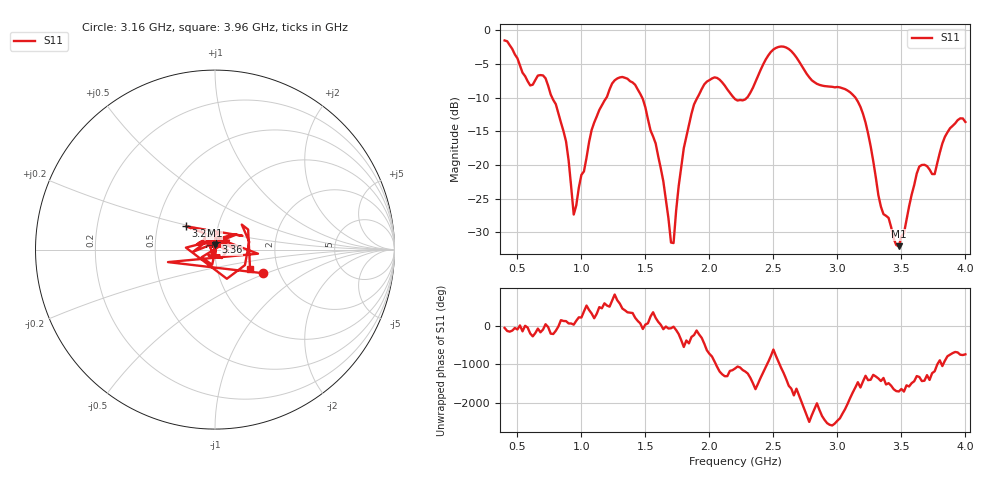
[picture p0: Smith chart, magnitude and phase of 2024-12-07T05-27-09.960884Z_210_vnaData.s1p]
!Created with skrf (http://scikit-rf.org).
# Hz S RI R 50.0
!freq ReS11 ImS11
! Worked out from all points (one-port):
!   181 points, 400 MHz to 4 GHz, reference 50 ohm
!   lowest |S11| = -32.0 dB at 3.48 GHz (marker M1), VSWR 1.05, Z = 49.9 + j2.49 ohm
!   |S11| at or under -10 dB: 772.1 MHz to 1.195 GHz (422.8 MHz wide, 43 % of centre); 1.475 GHz to 1.906 GHz (430.5 MHz wide, 25.5 % of centre); 3.142 GHz to end of sweep (the widest 3 of 4)
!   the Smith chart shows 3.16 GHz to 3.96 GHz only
!   S11 on the Smith chart (normalised r, x): 3.16 GHz: 1.64, -0.47; 3.22 GHz: 0.70, +0.19; 3.36 GHz: 1.00, +0.09; 3.96 GHz: 1.44, -0.32
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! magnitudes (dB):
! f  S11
! 400 MHz  -1.5
! 600 MHz  -8.2
! 720 MHz  -7.1
! 860 MHz  -15.0
! 940 MHz  -27.3
! 1.08 GHz  -14.8
! 1.3 GHz  -7.0
! 1.48 GHz  -10.2
! 1.64 GHz  -22.4
! 1.7 GHz  -31.5
! 1.72 GHz  -31.6
! 1.76 GHz  -23.1
! 1.86 GHz  -12.4
! 1.96 GHz  -8.0
! 2.2 GHz  -10.2
! 2.5 GHz  -2.8
! 2.66 GHz  -3.5
! 3.1 GHz  -9.2
! 3.16 GHz  -10.6
! 3.22 GHz  -13.7
! 3.36 GHz  -27.3
! 3.48 GHz  -32.0
! 3.56 GHz  -26.1
! 3.64 GHz  -20.2
! 3.76 GHz  -21.3
! 3.84 GHz  -15.8
! 3.96 GHz  -13.1
! 4 GHz  -13.6
